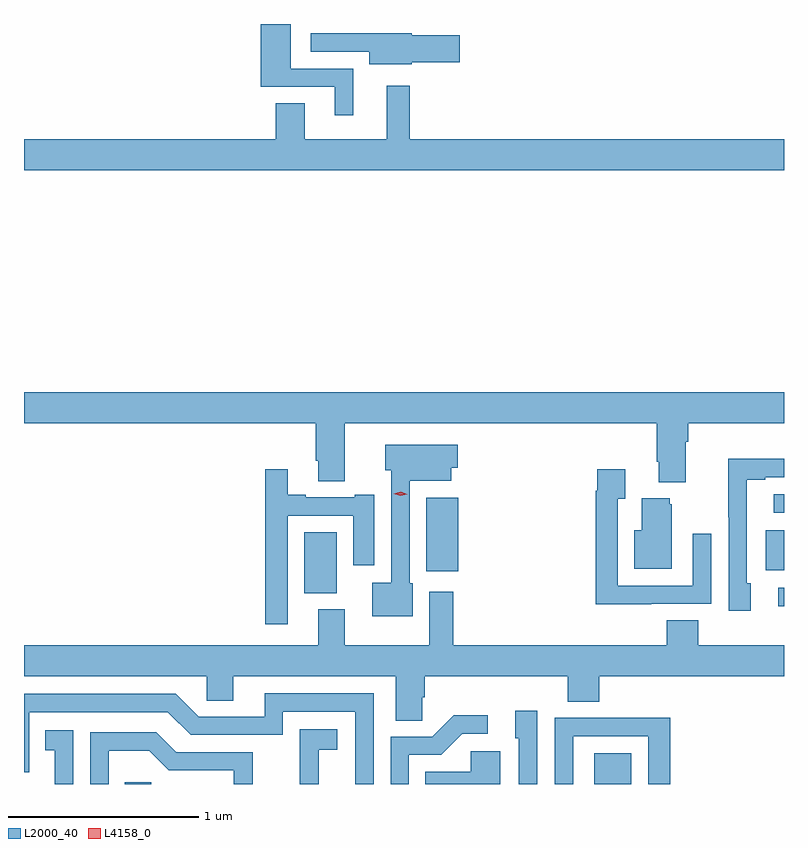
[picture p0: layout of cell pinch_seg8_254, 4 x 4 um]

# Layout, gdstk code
import gdstk
lib = gdstk.Library(unit=1e-6, precision=1e-09)
def R(c, l, rs):  # rectangles x0, y0, x1, y1
    for r in rs: c.add(gdstk.rectangle(r[:2], r[2:], *l))
def P(c, l, *ps):  # polygons
    for p in ps: c.add(gdstk.Polygon(p, *l))
L2000_40 = (2000, 40)
L4158_0 = (4158, 0)

pinch_seg8_254 = lib.new_cell('pinch_seg8_254')
R(pinch_seg8_254, L2000_40, [(758.041,1085.298,758.181,1085.307), (760.511,1085.298,760.708,1085.461), (761.481,1086.233,761.511,1086.33), (758.987,1086.302,759.157,1086.622), (759.629,1086.419,759.796,1086.805), (761.414,1086.422,761.511,1086.634), (761.457,1086.726,761.511,1086.822)])
P(pinch_seg8_254, L2000_40, [(759.244,1089.063),(758.914,1089.063),(758.914,1089.298),(758.756,1089.298),(758.756,1088.967),(759.146,1088.967),(759.146,1088.817),(759.244,1088.817)],
  [(759.552,1089.097),(759.805,1089.097),(759.805,1089.239),(759.552,1089.239),(759.552,1089.25),(759.333,1089.25),(759.333,1089.249),(759.021,1089.249),(759.021,1089.153),(759.329,1089.153),(759.329,1089.086),(759.552,1089.086)],
  [(758.837,1088.882),(758.837,1088.692),(757.511,1088.692),(757.511,1088.528),(761.511,1088.528),(761.511,1088.692),(759.541,1088.692),(759.541,1088.974),(759.419,1088.974),(759.419,1088.692),(758.989,1088.692),(758.989,1088.882)],
  [(760.993,1087.1),(761.006,1087.1),(761.006,1087.196),(761.511,1087.196),(761.511,1087.36),(757.511,1087.36),(757.511,1087.196),(759.047,1087.196),(759.047,1087),(759.059,1087),(759.059,1086.892),(759.199,1086.892),(759.199,1087.196),(760.841,1087.196),(760.841,1086.994),(760.853,1086.994),(760.853,1086.887),(760.993,1086.887)],
  [(759.556,1086.354),(759.54,1086.354),(759.54,1086.893),(759.76,1086.893),(759.76,1086.962),(759.793,1086.962),(759.793,1087.084),(759.413,1087.084),(759.413,1086.95),(759.444,1086.95),(759.444,1086.358),(759.344,1086.358),(759.344,1086.182),(759.556,1086.182)],
  [(761.335,1086.354),(761.316,1086.354),(761.316,1086.9),(761.413,1086.9),(761.413,1086.912),(761.511,1086.912),(761.511,1087.01),(761.218,1087.01),(761.218,1086.703),(761.22,1086.703),(761.22,1086.21),(761.335,1086.21)],
  [(760.811,1086.246),(761.127,1086.246),(761.127,1086.616),(761.031,1086.616),(761.031,1086.342),(760.635,1086.342),(760.635,1086.799),(760.675,1086.799),(760.675,1086.955),(760.527,1086.955),(760.527,1086.842),(760.519,1086.842),(760.519,1086.245),(760.811,1086.245)],
  [(758.898,1086.711),(759.245,1086.711),(759.245,1086.45),(759.355,1086.45),(759.355,1086.82),(759.251,1086.82),(759.251,1086.807),(758.995,1086.807),(758.995,1086.82),(758.899,1086.82),(758.899,1086.955),(758.782,1086.955),(758.782,1086.138),(758.898,1086.138)],
  [(760.921,1086.771),(760.91,1086.771),(760.91,1086.802),(760.763,1086.802),(760.763,1086.634),(760.724,1086.634),(760.724,1086.431),(760.921,1086.431)],
  [(759.606,1085.755),(759.62,1085.755),(759.62,1085.864),(760.373,1085.864),(760.373,1085.731),(760.538,1085.731),(760.538,1085.864),(761.511,1085.864),(761.511,1086.028),(761.06,1086.028),(761.06,1086.161),(760.895,1086.161),(760.895,1086.028),(759.77,1086.028),(759.77,1086.31),(759.644,1086.31),(759.644,1086.028),(759.199,1086.028),(759.199,1086.217),(759.059,1086.217),(759.059,1086.028),(757.511,1086.028),(757.511,1085.864),(758.472,1085.864),(758.472,1085.737),(758.611,1085.737),(758.611,1085.864),(759.467,1085.864),(759.467,1085.632),(759.606,1085.632)],
  [(759.351,1085.775),(758.777,1085.775),(758.777,1085.652),(758.43,1085.652),(758.31,1085.772),(757.511,1085.772),(757.511,1085.361),(757.539,1085.361),(757.539,1085.676),(758.268,1085.676),(758.388,1085.556),(758.874,1085.556),(758.874,1085.679),(759.255,1085.679),(759.255,1085.298),(759.351,1085.298)],
  [(760.212,1085.683),(760.097,1085.683),(760.097,1085.538),(760.116,1085.538),(760.116,1085.298),(760.212,1085.298)],
  [(759.537,1085.451),(759.706,1085.451),(759.817,1085.562),(759.952,1085.562),(759.952,1085.66),(759.773,1085.66),(759.66,1085.547),(759.441,1085.547),(759.441,1085.298),(759.537,1085.298)],
  [(760.401,1085.55),(760.797,1085.55),(760.797,1085.298),(760.913,1085.298),(760.913,1085.648),(760.621,1085.648),(760.621,1085.646),(760.305,1085.646),(760.305,1085.298),(760.401,1085.298)],
  [(759.062,1085.477),(759.16,1085.477),(759.16,1085.587),(758.962,1085.587),(758.962,1085.381),(758.963,1085.381),(758.963,1085.298),(759.062,1085.298)],
  [(757.77,1085.581),(757.624,1085.581),(757.624,1085.475),(757.673,1085.475),(757.673,1085.298),(757.77,1085.298)],
  [(757.956,1085.474),(758.17,1085.474),(758.274,1085.37),(758.616,1085.37),(758.616,1085.298),(758.715,1085.298),(758.715,1085.466),(758.311,1085.466),(758.206,1085.571),(757.86,1085.571),(757.86,1085.298),(757.956,1085.298)],
  [(760.018,1085.47),(759.861,1085.47),(759.861,1085.362),(759.622,1085.362),(759.622,1085.298),(760.018,1085.298)])
P(pinch_seg8_254, L4158_0, [(759.492,1086.815),(759.457,1086.826),(759.457,1086.826),(759.457,1086.826),(759.493,1086.835),(759.529,1086.824),(759.529,1086.823),(759.529,1086.823)])

lib.write_gds('pinch_seg8_254.gds')
